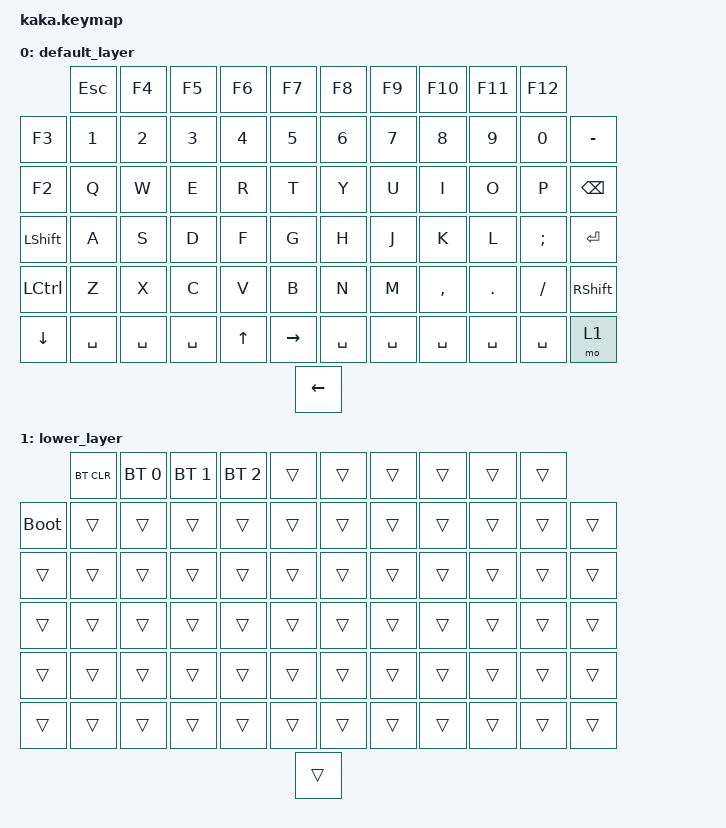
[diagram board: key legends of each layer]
/*
 * Copyright (c) 2020 The ZMK Contributors
 *
 * SPDX-License-Identifier: MIT
 */

#include <behaviors.dtsi>
#include <dt-bindings/zmk/keys.h>
#include <dt-bindings/zmk/bt.h>

/ {
        keymap {
                compatible = "zmk,keymap";

                default_layer {
                        bindings = <
        &kp ESC   &kp F4 &kp F5 &kp F6 &kp F7	&kp F8   &kp F9 &kp F10 &kp F11 &kp F12
        &kp F3   &kp N1 &kp N2 &kp N3 &kp N4 &kp N5	&kp N6   &kp N7 &kp N8 &kp N9 &kp N0 &kp MINUS
        &kp F2   &kp Q &kp W &kp E &kp R &kp T	&kp Y   &kp U &kp I &kp O &kp P &kp BSPC
        &kp LSHIFT   &kp A &kp S &kp D &kp F &kp G	&kp H   &kp J &kp K &kp L &kp SEMI &kp ENTER
        &kp LCTRL &kp Z &kp X &kp C &kp V &kp B	&kp N &kp M &kp COMMA &kp DOT &kp FSLH  &kp RSHIFT
        &kp DOWN &kp SPACE &kp SPACE &kp SPACE &kp UP &kp RIGHT	&kp SPACE &kp SPACE &kp SPACE &kp SPACE &kp SPACE &mo 1
        &kp LEFT	
        >;
                };

                lower_layer {
                    bindings = < &bt BT_CLR &bt BT_SEL 0 &bt BT_SEL 1 &bt BT_SEL 2 &trans &trans &trans &trans &trans &trans
                    &bootloader &trans &trans &trans &trans &trans &trans &trans &trans &trans &trans &trans
                    &trans &trans &trans &trans &trans &trans &trans &trans &trans &trans &trans &trans
                    &trans &trans &trans &trans &trans &trans &trans &trans &trans &trans &trans &trans
                    &trans &trans &trans &trans &trans &trans &trans &trans &trans &trans &trans &trans
                    &trans &trans &trans &trans &trans &trans &trans &trans &trans &trans &trans &trans
                    &trans
                    >;
                };
             
        };
};

